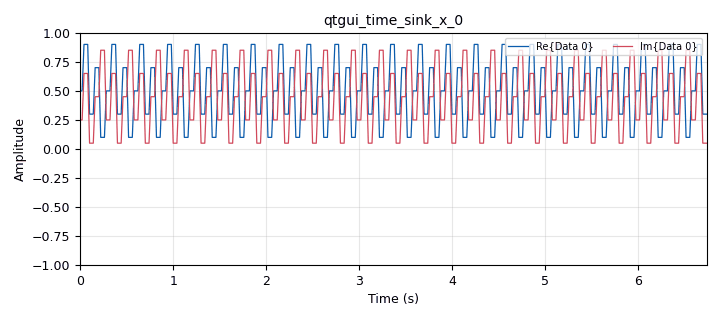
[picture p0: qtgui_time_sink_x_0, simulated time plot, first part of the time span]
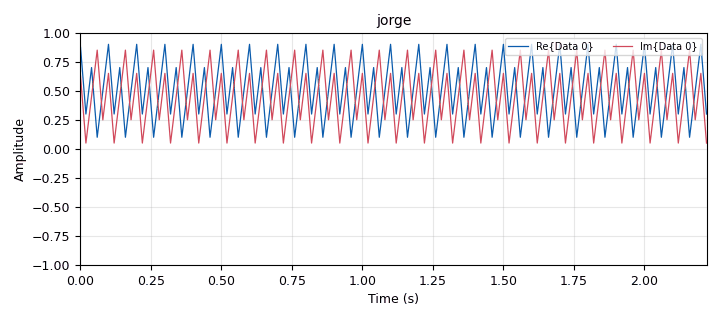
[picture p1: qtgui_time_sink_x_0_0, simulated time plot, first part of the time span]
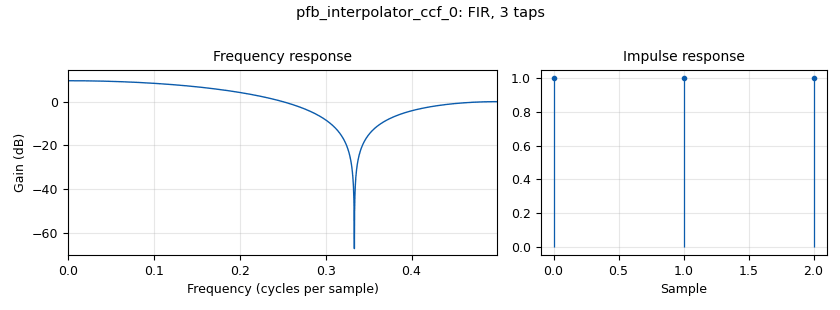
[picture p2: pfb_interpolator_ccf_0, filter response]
options:
  parameters:
    generate_options: qt_gui
    id: gui
    output_language: python
    title: Not titled yet
  states: {}

blocks:
- name: f
  id: variable_qtgui_range
  parameters:
    start: '100'
    step: '1'
    stop: '1000'
    value: '100'
    widget: slider
  states: {}
- name: samp_rate
  id: variable
  parameters:
    value: '50'
  states: {}
- name: analog_sig_source_x_0
  id: analog_sig_source_x
  parameters:
    amp: '1'
    freq: '20'
    offset: '0'
    phase: '0'
    samp_rate: samp_rate
    type: complex
    waveform: analog.GR_SAW_WAVE
  states: {}
- name: blocks_throttle2_0
  id: blocks_throttle2
  parameters:
    samples_per_second: samp_rate
    type: complex
  states: {}
- name: pfb_interpolator_ccf_0
  id: pfb_interpolator_ccf
  parameters:
    atten: '100'
    interp: '3'
    taps: '[1,1,1]'
  states: {}
- name: qtgui_time_sink_x_0
  id: qtgui_time_sink_x
  parameters:
    size: '1024'
    srate: samp_rate
    type: complex
  states: {}
- name: qtgui_time_sink_x_0_0
  id: qtgui_time_sink_x
  parameters:
    name: '"jorge"'
    size: '1024'
    srate: samp_rate
    type: complex
  states: {}

connections:
- [analog_sig_source_x_0, '0', blocks_throttle2_0, '0']
- [analog_sig_source_x_0, '0', qtgui_time_sink_x_0_0, '0']
- [blocks_throttle2_0, '0', pfb_interpolator_ccf_0, '0']
- [pfb_interpolator_ccf_0, '0', qtgui_time_sink_x_0, '0']

metadata:
  file_format: 1
  grc_version: 3.10.10.0
